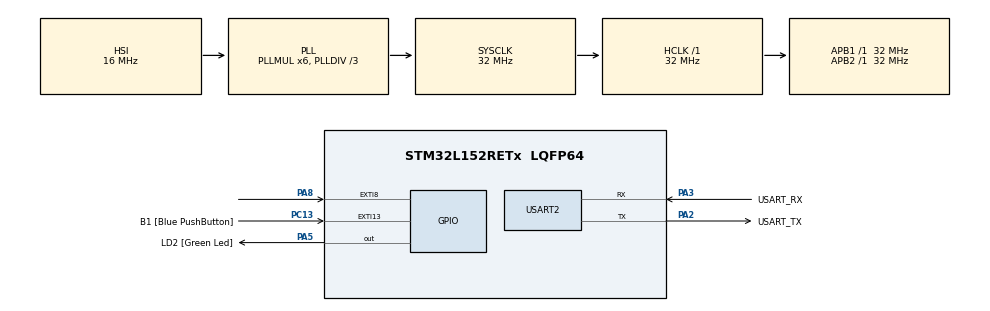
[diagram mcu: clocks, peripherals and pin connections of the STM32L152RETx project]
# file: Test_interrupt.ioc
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Mcu.Family=STM32L1
Mcu.Name=STM32L152RETx
Mcu.Package=LQFP64
NVIC.EXTI9_5_IRQn=true\:0\:0\:false\:false\:true\:true\:true\:true
NVIC.PriorityGroup=NVIC_PRIORITYGROUP_0
PA13.GPIO_Label=TMS
PA13.Mode=Serial_Wire
PA13.Signal=SYS_JTMS-SWDIO
PA14.GPIO_Label=TCK
PA14.Mode=Serial_Wire
PA14.Signal=SYS_JTCK-SWCLK
PA2.GPIO_Label=USART_TX
PA2.Mode=Asynchronous
PA2.Signal=USART2_TX
PA3.GPIO_Label=USART_RX
PA3.Mode=Asynchronous
PA3.Signal=USART2_RX
PA5.GPIO_Label=LD2 [Green Led]
PA5.Signal=GPIO_Output
PA8.Signal=GPXTI8
PB3.GPIO_Label=SWO
PB3.Signal=SYS_JTDO-TRACESWO
PC13-WKUP2.GPIO_Label=B1 [Blue PushButton]
PC13-WKUP2.Signal=GPXTI13
PC14-OSC32_IN.Mode=LSE-External-Oscillator
PC14-OSC32_IN.Signal=RCC_OSC32_IN
PC15-OSC32_OUT.Mode=LSE-External-Oscillator
PC15-OSC32_OUT.Signal=RCC_OSC32_OUT
PH0-OSC_IN.Mode=HSE-External-Clock-Source
PH0-OSC_IN.Signal=RCC_OSC_IN
PH1-OSC_OUT.Signal=RCC_OSC_OUT
ProjectManager.HeapSize=0x200
ProjectManager.StackSize=0x400
ProjectManager.TargetToolchain=STM32CubeIDE
RCC.48MHZClocksFreq_Value=48000000
RCC.AHBFreq_Value=32000000
RCC.APB1Freq_Value=32000000
RCC.APB1TimFreq_Value=32000000
RCC.APB2Freq_Value=32000000
RCC.APB2TimFreq_Value=32000000
RCC.HCLKFreq_Value=32000000
RCC.HSE_VALUE=8000000
RCC.HSI_VALUE=16000000
RCC.MSI_VALUE=2097000
RCC.PLLDIV=RCC_PLL_DIV3
RCC.PLLMUL=RCC_PLL_MUL6
RCC.RTCClockSelectionVirtual=RCC_RTCCLKSOURCE_LSE
RCC.SYSCLKFreq_VALUE=32000000
RCC.SYSCLKSource=RCC_SYSCLKSOURCE_PLLCLK
RCC.USBOutput=48000000
RCC.VCOOutputFreq_Value=96000000
USART2.VirtualMode=VM_ASYNC
board=NUCLEO-L152RE

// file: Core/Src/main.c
/* USER CODE BEGIN Header */
/**
  ******************************************************************************
  * @file           : main.c
  * @brief          : Main program body
  ******************************************************************************
  * @attention
  *
  * Copyright (c) 2024 STMicroelectronics.
  * All rights reserved.
  *
  * This software is licensed under terms that can be found in the LICENSE file
  * in the root directory of this software component.
  * If no LICENSE file comes with this software, it is provided AS-IS.
  *
  ******************************************************************************
  */
/* USER CODE END Header */
#include "main.h"
#include "usart.h"
#include "gpio.h"
#include <stdio.h>
#include <stdbool.h>

/* USER CODE BEGIN Includes */
int _write(int file, char *data, int len) {

    HAL_UART_Transmit(&huart2, (uint8_t*)data, len, HAL_MAX_DELAY); // Replace &huart2 with your UART instance

    return len;

	}
/* USER CODE END Includes */

void SystemClock_Config(void);

/* USER CODE BEGIN 0 */
enum press_type { press_none = 0, press_short, press_double, press_long };

volatile enum press_type button_press;

volatile unsigned int time_start;  // Timestamp of the first press

uint32_t DP_Threshold = 1000; // 1 second threshold

volatile uint8_t press_count = 0;  // A Flag that's used for indicating a second press

// this function specifies what the interrupt is going to be doing when it's triggered
void HAL_GPIO_EXTI_Callback(uint16_t GPIO_Pin){

	if (GPIO_Pin == b_pin){
	// Rising edge detected
		if ((HAL_GPIO_ReadPin(b_port, b_pin) == GPIO_PIN_SET)&& (press_count == 0)) {
					time_start = HAL_GetTick();
					//printf("Pressed\n\r");
					press_count = 1;
		     }

			// Falling edge detected
				else if ((HAL_GPIO_ReadPin(b_port, b_pin) == GPIO_PIN_RESET)&& (press_count == 1)){
					//printf("Released\n\r");
					unsigned int current_time = HAL_GetTick();
						if(current_time - time_start <= DP_Threshold) {
								button_press = press_short;
						}

						else if(current_time - time_start > DP_Threshold) {
									button_press = press_long;
								}
							press_count = 0;
						}

/* This is a test program of checking if the button worked with the interrupt
			static bool pre_val;
				if (pre_val == false){
					HAL_GPIO_WritePin(LD2_GPIO_Port, LD2_Pin, SET);
					printf("LED ON\n\r");
					pre_val = true;
				}
				else {
					HAL_GPIO_WritePin(LD2_GPIO_Port, LD2_Pin, RESET);
					printf("LED OFF\n\r");
					pre_val = false;
				}
			*/
		}

}
/* USER CODE END 0 */

int main(void)
{

  /* MCU Configuration--------------------------------------------------------*/

  /* Reset of all peripherals, Initializes the Flash interface and the Systick. */
  HAL_Init();

  /* Configure the system clock */
  SystemClock_Config();

  /* Initialize all configured peripherals */
  MX_GPIO_Init();
  MX_USART2_UART_Init();

  /* Infinite loop */
  while (1)
  {
	  if(button_press == press_long) {
			/* stuff for long press */
			printf("Long Press\n\r");
			button_press = press_none;
			}

		else if(button_press == press_short) {
			/* stuff for short press */
			printf("Single Press\n\r");
			button_press = press_none;
			}
  }
}

void SystemClock_Config(void)
{
  RCC_OscInitTypeDef RCC_OscInitStruct = {0};
  RCC_ClkInitTypeDef RCC_ClkInitStruct = {0};

  /** Configure the main internal regulator output voltage
  */
  __HAL_PWR_VOLTAGESCALING_CONFIG(PWR_REGULATOR_VOLTAGE_SCALE1);

  /** Initializes the RCC Oscillators according to the specified parameters
  * in the RCC_OscInitTypeDef structure.
  */
  RCC_OscInitStruct.OscillatorType = RCC_OSCILLATORTYPE_HSI;
  RCC_OscInitStruct.HSIState = RCC_HSI_ON;
  RCC_OscInitStruct.HSICalibrationValue = RCC_HSICALIBRATION_DEFAULT;
  RCC_OscInitStruct.PLL.PLLState = RCC_PLL_ON;
  RCC_OscInitStruct.PLL.PLLSource = RCC_PLLSOURCE_HSI;
  RCC_OscInitStruct.PLL.PLLMUL = RCC_PLL_MUL6;
  RCC_OscInitStruct.PLL.PLLDIV = RCC_PLL_DIV3;
  if (HAL_RCC_OscConfig(&RCC_OscInitStruct) != HAL_OK)
  {
    Error_Handler();
  }

  /** Initializes the CPU, AHB and APB buses clocks
  */
  RCC_ClkInitStruct.ClockType = RCC_CLOCKTYPE_HCLK|RCC_CLOCKTYPE_SYSCLK
                              |RCC_CLOCKTYPE_PCLK1|RCC_CLOCKTYPE_PCLK2;
  RCC_ClkInitStruct.SYSCLKSource = RCC_SYSCLKSOURCE_PLLCLK;
  RCC_ClkInitStruct.AHBCLKDivider = RCC_SYSCLK_DIV1;
  RCC_ClkInitStruct.APB1CLKDivider = RCC_HCLK_DIV1;
  RCC_ClkInitStruct.APB2CLKDivider = RCC_HCLK_DIV1;

  if (HAL_RCC_ClockConfig(&RCC_ClkInitStruct, FLASH_LATENCY_1) != HAL_OK)
  {
    Error_Handler();
  }
}

void Error_Handler(void)
{
  __disable_irq();
  while (1)
  {
  }
}
